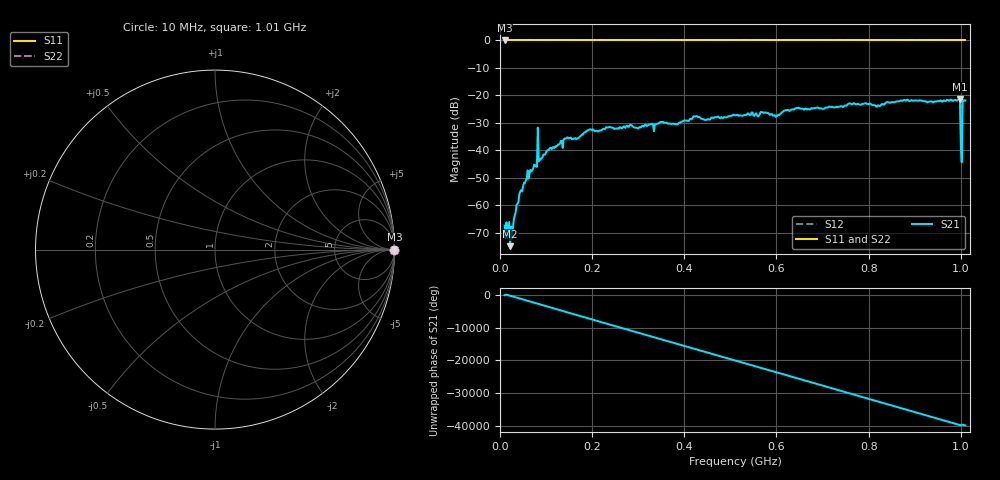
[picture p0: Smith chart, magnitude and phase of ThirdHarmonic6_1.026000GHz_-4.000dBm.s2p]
! 8/16/2025 8:40:46 AM
! C:\ANRITSUVNA\TEMP\TEMP.S2P
! CHANNEL.1
! TR.MEASUREMENT
! RAW.DATA
! RF.CORRECTION.OFF
! AVERAGING.OFF
! IF.BANDWIDTH: 5KHZ
! SWEEPTYPE:  FREQ.SWEEP(Linear)
! Reference Plane Port Info
! PORT:  PORT1  PORT2
! DISTANCE:  0  m  0  m
! TIME:  0  s  0  s
! PHASE.OFFSET:  0  deg.  0  deg.
! LOSS:  0  dB  0  dB
! REF.LOSS:  0  dB  0  dB
! REF.FREQ:  0  Hz  0  Hz
! Power Info
! POWER:  -20  dBm  -20  dBm
! EFF.POWER:  -20  dBm  -20  dBm
! SOURCE.ATTEN:  0  dB  0  dB
! TEST.ATTEN:  0  dB  0  dB
# GHZ S RI R 50.0
! FREQ.GHZ  S11RE  S11IM  S21RE  S21IM  S12RE  S12IM  S22RE  S22IM
!; PortSelection: Port_12
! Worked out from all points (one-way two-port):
!   501 points, 10 MHz to 1.01 GHz, reference 50 ohm
!   highest |S21| = -21.28 dB at 998 MHz (marker M1); lowest = -74.9 dB at 22 MHz (marker M2)
!   lowest |S11| = 0.0 dB at 10 MHz (marker M3)
!   |S11| at or under -10 dB: nowhere
!   |S22| runs from 0.0 to 0.0 dB; largest |S21 - S12| = 1.1
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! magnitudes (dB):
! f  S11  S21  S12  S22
! 10 MHz  0.0  -67.4  0.0  0.0
! 22 MHz  0.0  -74.9  0.0  0.0
! 26 MHz  0.0  -72.2  0.0  0.0
! 34 MHz  0.0  -62.5  0.0  0.0
! 46 MHz  0.0  -54.5  0.0  0.0
! 76 MHz  0.0  -45.6  0.0  0.0
! 78 MHz  0.0  -45.5  0.0  0.0
! 86 MHz  0.0  -43.2  0.0  0.0
! 88 MHz  0.0  -43.4  0.0  0.0
! 142 MHz  0.0  -35.7  0.0  0.0
! 178 MHz  0.0  -34.2  0.0  0.0
! 194 MHz  0.0  -32.4  0.0  0.0
! 344 MHz  0.0  -30.3  0.0  0.0
! 510 MHz  0.0  -27.3  0.0  0.0
! 602 MHz  0.0  -27.3  0.0  0.0
! 678 MHz  0.0  -24.8  0.0  0.0
! 844 MHz  0.0  -22.6  0.0  0.0
! 994 MHz  0.0  -21.6  0.0  0.0
! 998 MHz  0.0  -21.3  0.0  0.0
! 1.004 GHz  0.0  -21.6  0.0  0.0
! 1.008 GHz  0.0  -21.8  0.0  0.0
! 1.01 GHz  0.0  -21.8  0.0  0.0
